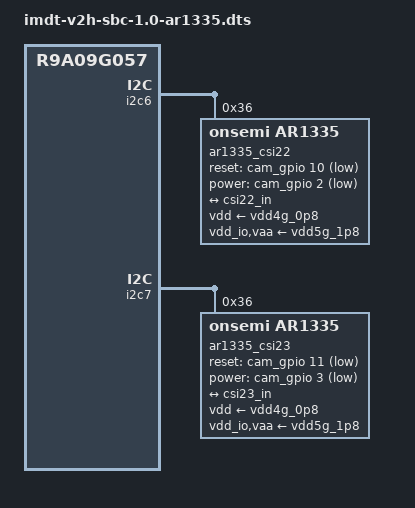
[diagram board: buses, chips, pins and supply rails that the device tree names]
/dts-v1/;
/plugin/;

#include <dt-bindings/gpio/gpio.h>

/ {
	compatible = "renesas,r9a09g057h4", "renesas,r9a09g057";
	
	// AR1335 for CSI20 (ISP path)
	fragment@0 {
		target = <&ap1302_csi20>;
		__overlay__ {
			sensors {
				#address-cells = <1>;
				#size-cells = <0>;
				onnn,model = "onnn,ar1335";

				sensor@0 {
					reg = <0>;
				};
			};
		};
	};

	// AR1335 for CSI21 (ISP path)
	fragment@1 {
		target = <&ap1302_csi21>;
		__overlay__ {
			sensors {
				#address-cells = <1>;
				#size-cells = <0>;
				onnn,model = "onnn,ar1335";

				sensor@0 {
					reg = <0>;
				};
			};
		};
	};

	// AR1335 for CSI22 (Direct path)
	fragment@2 {
		target = <&i2c6>;
		__overlay__ {
			#address-cells = <1>;
			#size-cells = <0>;

			ar1335_csi22: camera@36 {
				compatible = "onsemi,ar1335";
				reg = <0x36>;
				clocks = <&clk_ext_camera>;
				clock-names = "extclk";
				vdd-supply = <&vdd4g_0p8>;        /* Core 0.8V supply */
				vdd_io-supply = <&vdd5g_1p8>;     /* I/O 1.8V supply */
				vaa-supply = <&vdd5g_1p8>;
				reset-gpios = <&cam_gpio 10 GPIO_ACTIVE_LOW>;   /* CCM1_RST */
				power-gpios = <&cam_gpio 2 GPIO_ACTIVE_LOW>;    /* CCM1_PWR_DIS */

				port {
					ar1335_to_csi22: endpoint {
						clock-lanes = <0>;
						data-lanes = <1 2 3 4>;
						remote-endpoint = <&csi22_in>;
					};
				};
			};
		};
	};

	// AR1335 for CSI23 (Direct path)
	fragment@3 {
		target = <&i2c7>;
		__overlay__ {
			#address-cells = <1>;
			#size-cells = <0>;

			ar1335_csi23: camera@36 {
				compatible = "onsemi,ar1335";
				reg = <0x36>;
				clocks = <&clk_ext_camera>;
				clock-names = "extclk";
				vdd-supply = <&vdd4g_0p8>;        /* Core 0.8V supply */
				vdd_io-supply = <&vdd5g_1p8>;     /* I/O 1.8V supply */
				vaa-supply = <&vdd5g_1p8>;
				reset-gpios = <&cam_gpio 11 GPIO_ACTIVE_LOW>;   /* CCM2_RST */
				power-gpios = <&cam_gpio 3 GPIO_ACTIVE_LOW>;    /* CCM2_PWR_DIS */

				port {
					ar1335_to_csi23: endpoint {
						clock-lanes = <0>;
						data-lanes = <1 2 3 4>;
						remote-endpoint = <&csi23_in>;
					};
				};
			};
		};
	};
};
